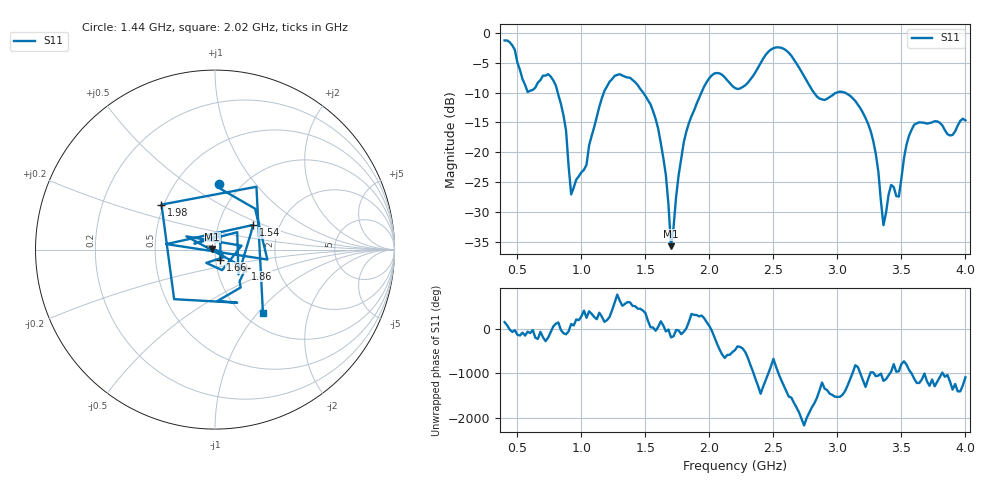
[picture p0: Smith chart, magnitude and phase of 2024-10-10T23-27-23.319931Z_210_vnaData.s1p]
! Created with skrf (http://scikit-rf.org).
# Hz S RI R 50.0
!freq ReS11 ImS11
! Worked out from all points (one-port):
!   181 points, 400 MHz to 4 GHz, reference 50 ohm
!   lowest |S11| = -35.8 dB at 1.7 GHz (marker M1), VSWR 1.03, Z = 48.5 + j0.41 ohm
!   |S11| at or under -10 dB: 815.2 MHz to 1.175 GHz (360.1 MHz wide, 36.2 % of centre); 1.483 GHz to 1.938 GHz (455 MHz wide, 26.6 % of centre); 3.059 GHz to end of sweep (the widest 3 of 4)
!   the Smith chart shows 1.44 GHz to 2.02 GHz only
!   S11 on the Smith chart (normalised r, x): 1.44 GHz: 0.80, +0.67; 1.54 GHz: 1.46, +0.43; 1.66 GHz: 1.06, -0.12; 1.86 GHz: 1.37, -0.30; 1.98 GHz: 0.49, +0.29; 2.02 GHz: 1.22, -1.07
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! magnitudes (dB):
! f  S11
! 400 MHz  -1.2
! 480 MHz  -2.8
! 580 MHz  -9.9
! 760 MHz  -7.3
! 860 MHz  -13.8
! 920 MHz  -27.1
! 1.04 GHz  -22.1
! 1.18 GHz  -9.7
! 1.3 GHz  -6.9
! 1.44 GHz  -8.7
! 1.54 GHz  -12.0
! 1.66 GHz  -23.8
! 1.7 GHz  -35.8
! 1.76 GHz  -23.8
! 1.86 GHz  -14.0
! 1.98 GHz  -8.2
! 2.02 GHz  -7.1
! 2.2 GHz  -9.2
! 2.5 GHz  -2.5
! 2.66 GHz  -4.4
! 2.86 GHz  -11.0
! 3.1 GHz  -10.5
! 3.28 GHz  -18.1
! 3.36 GHz  -32.2
! 3.42 GHz  -25.5
! 3.48 GHz  -27.4
! 3.56 GHz  -17.2
! 4 GHz  -14.7
